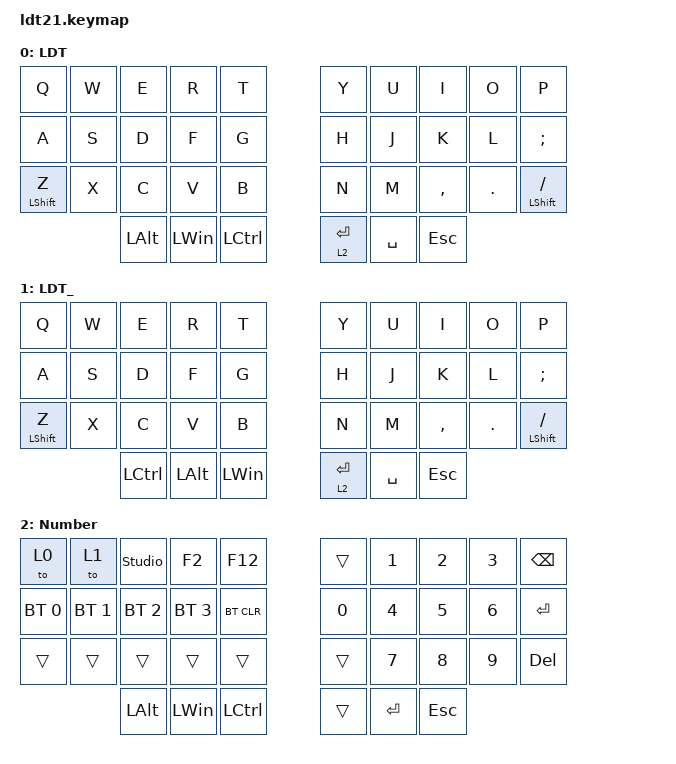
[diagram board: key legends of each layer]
/*
 * Copyright (c) 2020 The ZMK Contributors
 * LDT
 * SPDX-License-Identifier: MIT
 */

#include <behaviors.dtsi>
#include <dt-bindings/zmk/bt.h>
#include <dt-bindings/zmk/keys.h>

#define DEF 0
#define NAV 1
#define NUM 2

/ {
    combos {
        compatible = "zmk,combos";

        // Thumb combos

        combo_enter {
            bindings = <&kp ENTER>;
            key-positions = <31 30>;
        };

        combo_space {
            bindings = <&kp SPACE>;
            key-positions = <32 31>;
        };

        combo_del {
            bindings = <&kp DELETE>;
            key-positions = <30 31 32>;
        };

        // Brackets - Ngoặc vuông []

        combo_lbkt {
            bindings = <&kp LBKT>;
            key-positions = <6 16>;
            layers = <0 1>;
        };

        combo_rbkt {
            bindings = <&kp RBKT>;
            key-positions = <7 17>;
            layers = <0 1>;
        };

        // Braces - Ngoặc nhọn {}

        combo_lbrc {
            bindings = <&kp LBRC>;
            key-positions = <7 16>;
            layers = <0 1>;
        };

        combo_rbrc {
            bindings = <&kp RBRC>;
            key-positions = <17 8>;
            layers = <0 1>;
        };

        // Parentheses - Ngoặc tròn ()

        combo_lpar {
            bindings = <&kp LPAR>;
            key-positions = <17 26>;
            layers = <0 1>;
        };

        combo_rpar {
            bindings = <&kp RPAR>;
            key-positions = <18 27>;
            layers = <0 1>;
        };

        // Special chars

        combo_grave {
            bindings = <&kp GRAVE>;
            key-positions = <0 10>;
            layers = <0 1>;
        };

        combo_tilde {
            bindings = <&kp TILDE>;
            key-positions = <5 6>;
            layers = <0 1>;
        };

        combo_plus {
            bindings = <&kp PLUS>;
            key-positions = <7 6>;
            layers = <0 1>;
        };

        combo_minus {
            bindings = <&kp MINUS>;
            key-positions = <16 17>;
            layers = <0 1>;
        };

        combo_under {
            bindings = <&kp UNDER>;
            key-positions = <27 26>;
            layers = <0 1>;
        };

        combo_equal {
            bindings = <&kp EQUAL>;
            key-positions = <17 18>;
            layers = <0 1>;
        };

        combo_excl {
            bindings = <&kp EXCL>;
            key-positions = <14 4>;
        };

        combo_pipe {
            bindings = <&kp PIPE>;
            key-positions = <3 13>;
        };

        combo_dllr {
            bindings = <&kp DLLR>;
            key-positions = <2 13>;
        };

        combo_prcnt {
            bindings = <&kp PRCNT>;
            key-positions = <3 12>;
        };

        combo_star {
            bindings = <&kp STAR>;
            key-positions = <3 2>;
        };

        combo_amps {
            bindings = <&kp AMPS>;
            key-positions = <13 12>;
        };

        combo_hash {
            bindings = <&kp HASH>;
            key-positions = <4 13>;
        };

        combo_bslh {
            bindings = <&kp BSLH>;
            key-positions = <3 14>;
        };

        combo_caret {
            bindings = <&kp CARET>;
            key-positions = <3 4>;
        };

        combo_at {
            bindings = <&kp AT>;
            key-positions = <14 13>;
        };

        // Word navigation - Windows (Layer 0)

        combo_wbksp {
            bindings = <&kp LC(BSPC)>;
            key-positions = <33 9>;
            layers = <0>;
        };

        combo_wleft {
            bindings = <&kp LC(LEFT)>;
            key-positions = <33 16>;
            layers = <0>;
        };

        combo_wdown {
            bindings = <&kp LC(DOWN)>;
            key-positions = <33 17>;
            layers = <0>;
        };

        combo_wright {
            bindings = <&kp LC(RIGHT)>;
            key-positions = <33 18>;
            layers = <0>;
        };

        combo_wup {
            bindings = <&kp LC(UP)>;
            key-positions = <33 7>;
            layers = <0>;
        };

        // Word navigation - Mac (Layer 1)

        combo_wbksp_mac {
            bindings = <&kp LA(BSPC)>;
            key-positions = <33 9>;
            layers = <1>;
        };

        combo_wleft_mac {
            bindings = <&kp LA(LEFT)>;
            key-positions = <33 16>;
            layers = <1>;
        };

        combo_wdown_mac {
            bindings = <&kp LA(DOWN)>;
            key-positions = <33 17>;
            layers = <1>;
        };

        combo_wup_mac {
            bindings = <&kp LA(UP)>;
            key-positions = <33 7>;
            layers = <1>;
        };

        // Arrow keys

        combo_left {
            bindings = <&kp LEFT>;
            key-positions = <34 16>;
        };

        combo_right {
            bindings = <&kp RIGHT>;
            key-positions = <34 18>;
        };

        combo_up {
            bindings = <&kp UP>;
            key-positions = <34 7>;
        };

        combo_down {
            bindings = <&kp DOWN>;
            key-positions = <34 17>;
        };

        tab {
            bindings = <&kp TAB>;
            key-positions = <10 11>;
        };

        esc {
            bindings = <&kp ESCAPE>;
            key-positions = <0 1>;
        };

        backspace {
            bindings = <&kp BACKSPACE>;
            key-positions = <8 9>;
        };

        enter {
            bindings = <&kp ENTER>;
            key-positions = <18 19>;
        };

        combo_wright_mac {
            bindings = <&kp LA(RIGHT)>;
            key-positions = <33 18>;
            layers = <1>;
        };

        combo_sqt {
            bindings = <&kp SQT>;
            key-positions = <5 15>;
        };

        combo_dbsql {
            bindings = <&kp DOUBLE_QUOTES>;
            key-positions = <6 15>;
        };
    };

    keymap {
        compatible = "zmk,keymap";

        ldt21_layer {
            bindings = <
&kp Q             &kp W  &kp E         &kp R         &kp T      &kp Y        &kp U      &kp I       &kp O    &kp P
&kp A             &kp S  &kp D         &kp F         &kp G      &kp H        &kp J      &kp K       &kp L    &kp SEMICOLON
&mt LEFT_SHIFT Z  &kp X  &kp C         &kp V         &kp B      &kp N        &kp M      &kp COMMA   &kp DOT  &mt LEFT_SHIFT SLASH
                         &kp LEFT_ALT  &kp LEFT_WIN  &kp LCTRL  &lt 2 ENTER  &kp SPACE  &kp ESCAPE
            >;

            label = "LDT";
        };

        mac_layer {
            label = "LDT_";
            bindings = <
&kp Q             &kp W  &kp E      &kp R         &kp T         &kp Y        &kp U      &kp I       &kp O    &kp P
&kp A             &kp S  &kp D      &kp F         &kp G         &kp H        &kp J      &kp K       &kp L    &kp SEMICOLON
&mt LEFT_SHIFT Z  &kp X  &kp C      &kp V         &kp B         &kp N        &kp M      &kp COMMA   &kp DOT  &mt LEFT_SHIFT SLASH
                         &kp LCTRL  &kp LEFT_ALT  &kp LEFT_WIN  &lt 2 ENTER  &kp SPACE  &kp ESCAPE
            >;
        };

        number_layer {
            bindings = <
&to 0         &to 1         &studio_unlock  &kp F2        &kp F12     &trans  &kp NUMBER_1  &kp NUMBER_2  &kp NUMBER_3  &kp BACKSPACE
&bt BT_SEL 0  &bt BT_SEL 1  &bt BT_SEL 2    &bt BT_SEL 3  &bt BT_CLR  &kp N0  &kp NUMBER_4  &kp N5        &kp NUMBER_6  &kp ENTER
&trans        &trans        &trans          &trans        &trans      &trans  &kp N7        &kp N8        &kp N9        &kp DELETE
                            &kp LALT        &kp LWIN      &kp LCTRL   &trans  &kp ENTER     &kp ESCAPE
            >;

            label = "Number";
        };
    };
};
